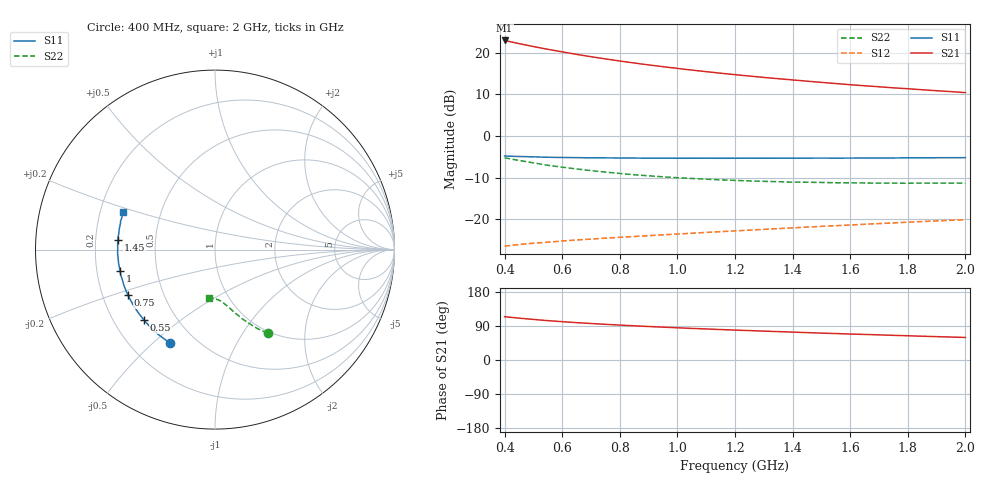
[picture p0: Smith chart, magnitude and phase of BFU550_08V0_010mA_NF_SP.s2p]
! Filename:  P:\Prog\Test\Noise\ATS_data\Testdata_Net\06 Compressed Noise after Statistics\BFU550_APG2013_43_D05_08p0V_010mA_NF_CM01_D.sf
! Date/Time: Fri 26/Apr/2013 13:07:23
! BFU550_APG2013_43_D05_08p0V_1to35mA_NF_CM01_Bias5_R.sf
! Noise Parameter Data File
! BFU550_APG2013_43_D05_08p0V_1to35mA_NF_CM01
! Date/time: Thu Apr 25 17:34:01 2013
! VAR V_out= 8.000000
! VAR I_out= 9.995000
! VAR V_in= 0.814400
! VAR I_in= 0.105105
! Device data file deembeded for feedlines and parallel
! Original file: \06 Compressed Noise after Statistics\BFU550_APG2013_43_D05_08p0V_010mA_NF_CM01_R.sf
! Feed-files: PR047V01_250413_Feed1.s2p, PR047V01_250413_Feed2.s2p
! Parallel-file: PR047V01_250413_Par.s2p
# MHz S MA R 50
!  Freq-MHz  S11-mag  S11-arg  S21-mag  S21-arg  S12-mag  S12-arg  S22-mag  S22-arg
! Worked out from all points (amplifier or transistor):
!   37 points, 400 MHz to 2 GHz, reference 50 ohm
!   highest |S21| = 23.0 dB at 400 MHz (marker M1)
!   |S21| within 3 dB of that: start of sweep to 621.9 MHz
!   unconditionally stable (mu >= 1): 1.743 GHz to end of sweep
!   at 500 MHz: K = 0.48, MSG = 23.6 dB, |S12| = -25.7 dB
!   at 1.1 GHz: K = 0.82, MSG = 19.3 dB, |S12| = -23.1 dB
!   at 2 GHz: K = 1.04, MAG = 14.1 dB, |S12| = -20.1 dB
!   lowest NFmin = 0.75 dB at 440 MHz
!   S11 on the Smith chart (normalised r, x): 400 MHz: 0.36, -0.57; 550 MHz: 0.33, -0.37; 750 MHz: 0.31, -0.22; 1 GHz: 0.30, -0.10; 1.45 GHz: 0.30, +0.05; 2 GHz: 0.30, +0.18
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400  0.5768 -115.8  14.06 114.3  0.04772 46.6  0.5489 -57.7
433  0.571 -120.7  13.27 111.7  0.04919 45.6  0.5226 -59.8
460  0.5679 -124.4  12.68 109.8  0.05032 45.0  0.5039 -61.4
500  0.563 -129.4  11.88 107.1  0.05179 44.2  0.4773 -63.4
550  0.5571 -135.3  11.01 103.8  0.05323 43.7  0.4464 -65.6
600  0.5537 -140.2  10.26 101.1  0.05503 43.2  0.4237 -67.7
650  0.5514 -144.7  9.574 98.6  0.05662 43.0  0.4034 -69.5
700  0.5486 -148.6  8.971 96.3  0.05803 42.9  0.3853 -70.9
750  0.5477 -152.4  8.443 94.2  0.05957 42.9  0.37 -72.5
800  0.546 -155.8  7.97 92.1  0.06098 43.0  0.3561 -73.9
850  0.5451 -158.9  7.539 90.2  0.06235 43.2  0.3431 -75.0
900  0.5427 -162.0  7.152 88.4  0.06381 43.4  0.3337 -76.3
950  0.5439 -164.6  6.813 86.7  0.06529 43.7  0.3245 -77.5
1000  0.542 -167.2  6.495 85.0  0.06676 44.0  0.3165 -78.5
1100  0.5427 -171.9  5.936 81.9  0.06979 44.5  0.3039 -80.5
1200  0.5422 -176.5  5.463 78.9  0.07278 45.0  0.2941 -82.6
1300  0.542 179.7  5.064 76.2  0.07595 45.6  0.2865 -84.4
1450  0.5434 174.1  4.562 72.3  0.0808 46.3  0.2793 -87.1
1500  0.5447 172.5  4.413 71.0  0.08246 46.5  0.2777 -88.1
1600  0.5445 169.1  4.138 68.5  0.08563 46.8  0.275 -89.8
1750  0.5464 164.6  3.796 65.1  0.09072 47.2  0.2724 -92.5
2000  0.551 157.9  3.327 59.5  0.09907 47.7  0.273 -96.9
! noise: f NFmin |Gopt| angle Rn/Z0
400  0.7948  0.07348  144.1  0.0877
460  0.7593  0.1267  150.7  0.0719
600  0.765  0.1168  152.7  0.0778
800  0.8256  0.1597  160.8  0.0715
1000  0.8467  0.1734  160.2  0.0714
1200  0.8799  0.2012  166.1  0.0699
1400  0.9127  0.2309  167.2  0.0675
1600  0.9796  0.2486  172.3  0.0671
1800  0.9353  0.3127  175.2  0.0549
2000  1.009  0.3267  -175.8  0.0606
